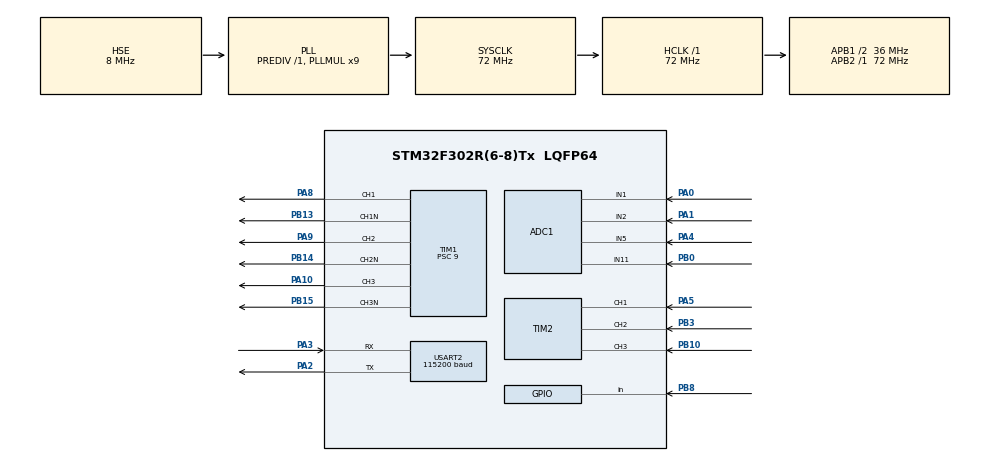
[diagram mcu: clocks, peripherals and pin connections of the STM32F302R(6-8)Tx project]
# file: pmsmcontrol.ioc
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Mcu.Family=STM32F3
ADC1.InjectedChannel-12\#ChannelInjectedConversion=ADC_CHANNEL_VBAT
RCC.CortexFreq_Value=72000000
PB10.GPIO_Speed=GPIO_SPEED_FREQ_LOW
PB10.GPIO_PuPd=GPIO_PULLUP
ADC1.InjectedSamplingTimeOPAMP-10\#ChannelInjectedConversion=ADC_SAMPLETIME_61CYCLES_5
PA10.GPIO_PuPd=GPIO_PULLDOWN
RCC.SYSCLKSourceVirtual=RCC_SYSCLKSOURCE_PLLCLK
ADC1.InjectedSamplingTime-11\#ChannelInjectedConversion=ADC_SAMPLETIME_19CYCLES_5
PB13.Signal=TIM1_CH1N
PB15.Signal=TIM1_CH3N
TIM1.Channel-Output\ Compare1\ CH1\ CH1N=TIM_CHANNEL_1
PB3.GPIO_Speed=GPIO_SPEED_FREQ_LOW
ProjectManager.StackSize=0x400
TIM1.Prescaler=9
NVIC.ADC1_IRQn=true\:0\:0\:false\:false\:true\:true\:true
PA4.Mode=IN5-Single-Ended
Dma.USART2_RX.0.Priority=DMA_PRIORITY_LOW
Dma.USART2_RX.0.PeriphDataAlignment=DMA_PDATAALIGN_BYTE
RCC.HCLKFreq_Value=72000000
RCC.APB2TimFreq_Value=72000000
ADC1.InjectedRank-9\#ChannelInjectedConversion=1
ADC1.InjNumberOfConversion=4
TIM1.AutomaticOutput=TIM_AUTOMATICOUTPUT_ENABLE
ADC1.InjectedOffsetNumber-9\#ChannelInjectedConversion=ADC_OFFSET_NONE
ADC1.InjectedOffset-12\#ChannelInjectedConversion=0
ADC1.InjectedSamplingTimeOPAMP-9\#ChannelInjectedConversion=ADC_SAMPLETIME_61CYCLES_5
RCC.AHBFreq_Value=72000000
ADC1.InjectedChannel-9\#ChannelInjectedConversion=ADC_CHANNEL_1
ADC1.ExternalTrigInjecConv=ADC_EXTERNALTRIGINJECCONV_T1_TRGO
ADC1.InjectedOffsetNumber-12\#ChannelInjectedConversion=ADC_OFFSET_NONE
RCC.HSE_VALUE=8000000
ADC1.InjectedOffset-11\#ChannelInjectedConversion=0
USART2.VirtualMode-Asynchronous=VM_ASYNC
RCC.PLLMUL=RCC_PLL_MUL9
TIM1.Break2Polarity=TIM_BREAK2POLARITY_LOW
PB3.GPIO_PuPd=GPIO_PULLUP
PB10.GPIO_ModeDefaultPP=GPIO_MODE_AF_PP
Dma.USART2_RX.0.MemDataAlignment=DMA_MDATAALIGN_BYTE
TIM1.Channel-PWM\ Generation1\ CH1=TIM_CHANNEL_1
PA14.Mode=Serial_Wire
ADC1.InjectedChannel-11\#ChannelInjectedConversion=ADC_CHANNEL_5
PB14.Mode=PWM Generation2 CH2 CH2N
PA5.GPIO_PuPd=GPIO_PULLUP
TIM1.DeadTime=16
NVIC.TIM2_IRQn=true\:0\:0\:false\:false\:true\:true\:true
PA0.Mode=IN1-Single-Ended
ADC1.InjectedSamplingTime-12\#ChannelInjectedConversion=ADC_SAMPLETIME_19CYCLES_5
Dma.USART2_RX.0.Instance=DMA1_Channel6
PA8.Signal=S_TIM1_CH1
ADC1.Rank4_Channel=ADC_CHANNEL_VBAT
ADC1.InjectedRank-11\#ChannelInjectedConversion=3
VP_TIM1_VS_ClockSourceINT.Mode=Internal
PA0.Signal=ADC1_IN1
ADC1.InjectedSamplingTime-10\#ChannelInjectedConversion=ADC_SAMPLETIME_19CYCLES_5
Mcu.Package=LQFP64
PB14.GPIO_PuPd=GPIO_PULLDOWN
Dma.USART2_RX.0.PeriphInc=DMA_PINC_DISABLE
PB15.GPIO_PuPd=GPIO_PULLDOWN
TIM2.IC1Polarity=TIM_ICPOLARITY_RISING
PA10.Signal=S_TIM1_CH3
ADC1.Rank1_Channel=ADC_CHANNEL_1
TIM1.Channel-PWM\ Generation2\ CH2N=TIM_CHANNEL_2
ADC1.InjectedRank-12\#ChannelInjectedConversion=4
RCC.APB1TimFreq_Value=72000000
PB13.Mode=PWM Generation1 CH1 CH1N
PF1-OSC_OUT.Mode=HSE-External-Oscillator
Dma.Request0=USART2_RX
ADC1.InjectedOffset-9\#ChannelInjectedConversion=0
PF1-OSC_OUT.Signal=RCC_OSC_OUT
PA3.Signal=USART2_RX
RCC.PLLSourceVirtual=RCC_PLLSOURCE_HSE
NVIC.DMA1_Channel6_IRQn=true\:0\:0\:false\:false\:true\:false\:true
TIM1.OffStateIDLEMode=TIM_OSSI_ENABLE
TIM2.IC1Filter=15
TIM1.CounterMode=TIM_COUNTERMODE_CENTERALIGNED1
PB8.GPIO_PuPd=GPIO_NOPULL
Dma.USART2_RX.0.Direction=DMA_PERIPH_TO_MEMORY
VP_ADC1_Vbat_Input.Mode=IN-Vbat
TIM1.Channel-PWM\ Generation1\ CH1\ CH1N=TIM_CHANNEL_1
RCC.APB1CLKDivider=RCC_HCLK_DIV2
PA9.GPIO_PuPd=GPIO_PULLDOWN
USART2.BaudRate=115200
ADC1.InjectedSamplingTimeOPAMP-12\#ChannelInjectedConversion=ADC_SAMPLETIME_61CYCLES_5
ADC1.InjectedRank-10\#ChannelInjectedConversion=2
Dma.USART2_RX.0.Mode=DMA_CIRCULAR
PA3.Mode=Asynchronous
PA13.Signal=SYS_JTMS-SWDIO
TIM1.AutoReloadPreload=TIM_AUTORELOAD_PRELOAD_ENABLE
ADC1.InjectedOffset-10\#ChannelInjectedConversion=0
TIM1.Channel-PWM\ Generation2\ CH2\ CH2N=TIM_CHANNEL_2
SH.S_TIM2_CH2.0=TIM2_CH2,Xored_Inputs_Hall_Sensor_Interface
SH.S_TIM1_CH1.0=TIM1_CH1,PWM Generation1 CH1 CH1N
ProjectManager.TargetToolchain=STM32CubeIDE
PA5.GPIO_ModeDefaultPP=GPIO_MODE_AF_PP
ADC1.InjectedOffsetNumber-10\#ChannelInjectedConversion=ADC_OFFSET_NONE
PA9.Signal=S_TIM1_CH2
TIM1.Channel-PWM\ Generation2\ CH2=TIM_CHANNEL_2
TIM1.Channel-PWM\ Generation3\ CH3\ CH3N=TIM_CHANNEL_3
RCC.USBFreq_Value=72000000
ADC1.InjectedChannel-10\#ChannelInjectedConversion=ADC_CHANNEL_2
ADC1.InjectedOffsetNumber-11\#ChannelInjectedConversion=ADC_OFFSET_NONE
RCC.LSE_VALUE=32768
PA1.Signal=ADC1_IN2
PF0-OSC_IN.Mode=HSE-External-Oscillator
PB10.Signal=S_TIM2_CH3
PB14.Signal=TIM1_CH2N
PA5.Signal=S_TIM2_CH1_ETR
ADC1.InjectedSamplingTime-9\#ChannelInjectedConversion=ADC_SAMPLETIME_19CYCLES_5
PB0.Mode=IN11-Single-Ended
board=custom
PB3.GPIO_ModeDefaultPP=GPIO_MODE_AF_PP
PB15.Mode=PWM Generation3 CH3 CH3N
PB13.GPIO_PuPd=GPIO_PULLDOWN
ADC1.InjectedSamplingTimeOPAMP-11\#ChannelInjectedConversion=ADC_SAMPLETIME_61CYCLES_5
TIM1.TIM_MasterOutputTrigger=TIM_TRGO_UPDATE
RCC.APB2Freq_Value=72000000
PA1.Mode=IN2-Single-Ended
SH.S_TIM1_CH2.0=TIM1_CH2,PWM Generation2 CH2 CH2N
VP_TIM2_VS_ClockSourceINT.Mode=Internal
SH.S_TIM2_CH3.0=TIM2_CH3,Xored_Inputs_Hall_Sensor_Interface
TIM1.OffStateRunMode=TIM_OSSR_DISABLE
TIM1.BreakPolarity=TIM_BREAKPOLARITY_LOW
PA13.Mode=Serial_Wire
Mcu.Name=STM32F302R(6-8)Tx
Dma.USART2_RX.0.MemInc=DMA_MINC_ENABLE
PA2.Signal=USART2_TX
PB3.Signal=S_TIM2_CH2
PA4.Signal=ADC1_IN5
RCC.SYSCLKFreq_VALUE=72000000
ADC1.master=1
SH.S_TIM2_CH1_ETR.0=TIM2_CH1,Xored_Inputs_Hall_Sensor_Interface
PA14.Signal=SYS_JTCK-SWCLK
ProjectManager.HeapSize=0x200
SH.S_TIM1_CH3.0=TIM1_CH3,PWM Generation3 CH3 CH3N
RCC.HSI_VALUE=8000000
PA8.GPIO_PuPd=GPIO_PULLDOWN
PA5.GPIO_Speed=GPIO_SPEED_FREQ_LOW
NVIC.PriorityGroup=NVIC_PRIORITYGROUP_4
ADC1.NbrOfConversionFlag=1
PA2.Mode=Asynchronous
PB8.Signal=GPIO_Input
PF0-OSC_IN.Signal=RCC_OSC_IN
TIM1.Channel-PWM\ Generation3\ CH3=TIM_CHANNEL_3
RCC.APB1Freq_Value=36000000
PB0.Signal=ADC1_IN11

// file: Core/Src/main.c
/* USER CODE BEGIN Header */
/**
  ******************************************************************************
  * @file           : main.c
  * @brief          : Main program body
  ******************************************************************************
  * @attention
  *
  * <h2><center>&copy; Copyright (c) 2021 STMicroelectronics.
  * All rights reserved.</center></h2>
  *
  * This software component is licensed by ST under BSD 3-Clause license,
  * the "License"; You may not use this file except in compliance with the
  * License. You may obtain a copy of the License at:
  *                        opensource.org/licenses/BSD-3-Clause
  *
  ******************************************************************************
  */
/* USER CODE END Header */
#include "main.h"

/* USER CODE BEGIN Includes */
#include "cardata.h"

/* USER CODE END Includes */

ADC_HandleTypeDef hadc1;

TIM_HandleTypeDef htim1;
TIM_HandleTypeDef htim2;

UART_HandleTypeDef huart2;
DMA_HandleTypeDef hdma_usart2_rx;

/* USER CODE BEGIN PV */
volatile enum Notch notch = N;
volatile enum Mode mode = DEMO;
volatile enum HallState hallstate = STOP;
volatile enum InvState invstate = INVOFF;
const enum InputMode inputmode = SERIAL;
const enum CtrlMode ctrlmode = SPEAKER;

volatile uint32_t start = 0;  // for process time measurement
volatile uint32_t stop = 0;   // for process time measurement
uint32_t theta_est = 0;  // estimated rotor electric angle (65536^2/2pi * omega[rad])
uint32_t theta_u = 0;    // U voltage phase angle (65536^2/2pi * omega[rad])
float omega_est = 0.0;  // estimated rotor electric angular velocity [rad/s]
float omega_ref = 0.0;  // (for demo mode only) omega command [rad/s]
float CtrlPrd = 0.0;    // control period [s]
float speed = 0.0;      // bicycle speed [km/h]
float fs = 0.0;  // estimated rotor electric frequency [Hz]
float fc = INITIALFC;  // carrier frequency (include random modulation) [Hz]
float fc0 = INITIALFC; // carrier frequency (exclude random modulation) [Hz]
float frand = 0.0;     // random modulation frequency
float Vd = 0.0;  // d-axis voltage command [-1 1]
float Vq = 0.0;  // q-axis voltage command [-1 1]
float Vs = 0.0;  // signal voltage =sqrt(Vd^2+Vq^2) [-1 1]
float Vdc = 36.0;
float Id = 0.0;
float Iq = 0.0;
float Iac = 0.0;
float acc = 0.0;  // (for demo) acceleration set to change omega_ref [rad/s/s]
int pulsemode = 0;  // pulse mode
int pmNo = 0;       // pulse mode index
int pmNo_ref = 0;
int pulsemode_ref = 0;
static uint8_t dma_rx_buf[RXBUFFERSIZE];  // rx buffer written by DMA
static uint32_t rd_ptr, dma_write_ptr;  // rx pointer
uint8_t sector = 0;

/* array for pulse pattern data */
float list_fs[PULSEMODESIZE], list_fc1[PULSEMODESIZE], list_fc2[PULSEMODESIZE], list_frand1[PULSEMODESIZE], list_frand2[PULSEMODESIZE];
int list_pulsemode[PULSEMODESIZE], pulsenum;

/* USER CODE END PV */

void SystemClock_Config(void);
static void MX_GPIO_Init(void);
static void MX_DMA_Init(void);
static void MX_TIM1_Init(void);
static void MX_USART2_UART_Init(void);
static void MX_ADC1_Init(void);
static void MX_TIM2_Init(void);
/* USER CODE BEGIN PFP */
int USART2_RX_IsEmpty(void);
uint8_t USART2_RX_Read(void);
void decode_pulsemode(const char*);
void inv_reset(void);
float newton_downslope(float, float, float, uint32_t);
float newton_upslope(float, float, float, uint32_t);
/* USER CODE END PFP */

int main(void)
{

  /* MCU Configuration--------------------------------------------------------*/

  /* Reset of all peripherals, Initializes the Flash interface and the Systick. */
  HAL_Init();

  /* Configure the system clock */
  SystemClock_Config();

  /* Initialize all configured peripherals */
  MX_GPIO_Init();
  MX_DMA_Init();
  MX_TIM1_Init();
  MX_USART2_UART_Init();
  MX_ADC1_Init();
  MX_TIM2_Init();
  /* USER CODE BEGIN 2 */

  /* to measure process time (if you want to get CPU cycle, access DWT->CYCCNT) */
  CoreDebug -> DEMCR |= CoreDebug_DEMCR_TRCENA_Msk;
  DWT -> CTRL |= DWT_CTRL_CYCCNTENA_Msk;

  /* initialize TIM1 parameters */
  TIM1->PSC = PRSC-1;
  TIM1->ARR = (uint16_t)((float)FCLK/2/PRSC/fc);
  CtrlPrd = 1.0/2.0/fc;

  /* start peripherals */
  HAL_UART_Receive_DMA(&huart2, dma_rx_buf, RXBUFFERSIZE);
  HAL_ADCEx_Calibration_Start(&hadc1, ADC_SINGLE_ENDED);
  HAL_ADCEx_InjectedStart_IT(&hadc1);  // ADC sampling and control interrupt
  HAL_TIM_PWM_Start(&htim1, TIM_CHANNEL_1);
  HAL_TIM_PWM_Start(&htim1, TIM_CHANNEL_2);
  HAL_TIM_PWM_Start(&htim1, TIM_CHANNEL_3);
  HAL_TIMEx_PWMN_Start(&htim1, TIM_CHANNEL_1);
  HAL_TIMEx_PWMN_Start(&htim1, TIM_CHANNEL_2);
  HAL_TIMEx_PWMN_Start(&htim1, TIM_CHANNEL_3);
//  if (ctrlmode == HALL) {
	  HAL_TIM_IC_Start(&htim2, TIM_CHANNEL_1);  // hall sensor input capture
	  HAL_TIM_Base_Start_IT(&htim2);            // hall sensor transition interrupt
//  } else {
//	  HAL_TIM_IC_Stop(&htim2, TIM_CHANNEL_1);
//	  HAL_TIM_Base_Stop_IT(&htim2);
//  }

  int carno = -1;
  struct CarData* car;// = &cardata[carno];  // car data in use

  if (inputmode == GPIO) {
	  invstate = INVON;
	  car = &cardata[1];
	  decode_pulsemode(car->pattern);
  }

  /* USER CODE END 2 */

  /* Infinite loop */
  /* USER CODE BEGIN WHILE */

  char rxbuf[RXBUFFERSIZE];
  char txbuf[TXBUFFERSIZE];

  while (1)
  {
	// initialize buffer
	memset(rxbuf, 0, RXBUFFERSIZE);
	memset(txbuf, 0, TXBUFFERSIZE);

	// receive
	int i = 0;
	while (!USART2_RX_IsEmpty()) {
		rxbuf[i] = USART2_RX_Read();
		i++;
	}
	HAL_UART_Transmit(&huart2, (uint8_t*)rxbuf, i, UARTTIMEOUT);

	// when receive "invoff"
	if (!strncmp(rxbuf, "invoff", 6)) {
		HAL_UART_Transmit(&huart2, (uint8_t*)rxbuf, i, UARTTIMEOUT);
		inv_reset();
	}
	// when receive "carno=%d", change car only when the inverter is off
	else if (!strncmp(rxbuf, "carno=", 6)) {
		HAL_UART_Transmit(&huart2, (uint8_t*)rxbuf, i, UARTTIMEOUT);
		if (invstate == INVOFF) {
			HAL_UART_Transmit(&huart2, (uint8_t*)rxbuf, i, UARTTIMEOUT);
			sscanf(rxbuf, "carno=%d", &carno);
			if (carno > -1 && carno < NUMOFCAR) {
				HAL_UART_Transmit(&huart2, (uint8_t*)rxbuf, i, UARTTIMEOUT);
				car = &cardata[carno];
				decode_pulsemode(car->pattern);
				invstate = INVON;
			} else {  // if carno is invalid, turn off inverter
				invstate = INVOFF;
				carno = -1;
			}
		}
	}
	// when receive "mode=%d", change mode only when the inverter is off
	else if (!strncmp(rxbuf, "mode=", 5)) {
		if (invstate == INVOFF) {
			sscanf(rxbuf, "mode=%d", (int*)&mode);
			if (carno > -1) {
				invstate = INVON;
			}
		}
	}
	// when receive notch command
	if (invstate == INVON) {
		if (!strncmp(rxbuf, "notch=", 6)) {
			sscanf(rxbuf, "notch=%d", (int*)&notch);
		}
		else if (rxbuf[0] == 'P') {
			notch = P5;
		}
		else if (rxbuf[0] == 'N') {
			notch = N;
		}
		else if (rxbuf[0] == 'B') {
			notch = B8;
		}
	} else {
		notch = N;
	}

	// apply notch
	if (carno > -1) {
		if (inputmode == SERIAL) {
			if (notch > N) {  // P
				acc = car->acc0*(notch-N)/(P5-N)/3.6/car->rwheel*car->gr*car->pp;
			} else if (EB < notch) {
				acc = car->brk0*(notch-N)/(B8-N)/3.6/car->rwheel*car->gr*car->pp;
			} else {
				acc = car->eb0/3.6/car->rwheel*car->gr*car->pp;
			}
		} else if (inputmode == GPIO) {
			if (HAL_GPIO_ReadPin(GPIOB, GPIO_PIN_8)) {
				notch = P5;
				acc = car->acc0/3.6/car->rwheel*car->gr*car->pp;
			} else {
				notch = B8;
				acc = car->brk0/3.6/car->rwheel*car->gr*car->pp;
			}
		}
	}

	//HAL_Delay(50);

	// send data to serial
	//Iac = 0.0;
	//sprintf(txbuf, "{\"speed\":%f, \"fs\":%f, \"frand\":%f, \"Vs\":%f, \"pulsemode\":%d, \"fc\":%f, \"Vdc\":%f, \"Imm\":%f, \"notch\":%d, \"carno\":%d, \"mode\":%d, \"invstate\":%d, \"pedal\":%d}\n",speed,fs,frand,Vs,pulsemode,fc0,Vdc,Iac,(int)notch,carno,(int)mode,(int)invstate,0);
	//sprintf(txbuf, "\"omega_ref\":%f, \"omega_est\":%f, \"fc\":%f\n", omega_ref, omega_est, fc);
//	float Iu = 10.0/1.09515 * (ADC1->JDR2/4096.0*3.3-1.70475-0.042);
//	float Iw = 10.0/1.09515 * (ADC1->JDR3/4096.0*3.3-1.70475-0.08);
	sprintf(txbuf, "{\"Iu:%d, Iw:%d, Vbat:%d\n", ADC1->JDR2, ADC1->JDR3, (ADC1->JDR4));
	HAL_UART_Transmit(&huart2, (uint8_t*)txbuf, strlen(txbuf), UARTTIMEOUT);

    /* USER CODE END WHILE */

  }
}

void SystemClock_Config(void)
{
  RCC_OscInitTypeDef RCC_OscInitStruct = {0};
  RCC_ClkInitTypeDef RCC_ClkInitStruct = {0};
  RCC_PeriphCLKInitTypeDef PeriphClkInit = {0};

  /** Initializes the RCC Oscillators according to the specified parameters
  * in the RCC_OscInitTypeDef structure.
  */
  RCC_OscInitStruct.OscillatorType = RCC_OSCILLATORTYPE_HSE;
  RCC_OscInitStruct.HSEState = RCC_HSE_ON;
  RCC_OscInitStruct.HSEPredivValue = RCC_HSE_PREDIV_DIV1;
  RCC_OscInitStruct.HSIState = RCC_HSI_ON;
  RCC_OscInitStruct.PLL.PLLState = RCC_PLL_ON;
  RCC_OscInitStruct.PLL.PLLSource = RCC_PLLSOURCE_HSE;
  RCC_OscInitStruct.PLL.PLLMUL = RCC_PLL_MUL9;
  if (HAL_RCC_OscConfig(&RCC_OscInitStruct) != HAL_OK)
  {
    Error_Handler();
  }
  /** Initializes the CPU, AHB and APB buses clocks
  */
  RCC_ClkInitStruct.ClockType = RCC_CLOCKTYPE_HCLK|RCC_CLOCKTYPE_SYSCLK
                              |RCC_CLOCKTYPE_PCLK1|RCC_CLOCKTYPE_PCLK2;
  RCC_ClkInitStruct.SYSCLKSource = RCC_SYSCLKSOURCE_PLLCLK;
  RCC_ClkInitStruct.AHBCLKDivider = RCC_SYSCLK_DIV1;
  RCC_ClkInitStruct.APB1CLKDivider = RCC_HCLK_DIV2;
  RCC_ClkInitStruct.APB2CLKDivider = RCC_HCLK_DIV1;

  if (HAL_RCC_ClockConfig(&RCC_ClkInitStruct, FLASH_LATENCY_2) != HAL_OK)
  {
    Error_Handler();
  }
  PeriphClkInit.PeriphClockSelection = RCC_PERIPHCLK_TIM1|RCC_PERIPHCLK_ADC1;
  PeriphClkInit.Tim1ClockSelection = RCC_TIM1CLK_HCLK;
  PeriphClkInit.Adc1ClockSelection = RCC_ADC1PLLCLK_DIV1;

  if (HAL_RCCEx_PeriphCLKConfig(&PeriphClkInit) != HAL_OK)
  {
    Error_Handler();
  }
}

static void MX_ADC1_Init(void)
{

  ADC_InjectionConfTypeDef sConfigInjected = {0};

  /** Common config
  */
  hadc1.Instance = ADC1;
  hadc1.Init.ClockPrescaler = ADC_CLOCK_ASYNC_DIV1;
  hadc1.Init.Resolution = ADC_RESOLUTION_12B;
  hadc1.Init.ScanConvMode = ADC_SCAN_ENABLE;
  hadc1.Init.ContinuousConvMode = DISABLE;
  hadc1.Init.DiscontinuousConvMode = DISABLE;
  hadc1.Init.ExternalTrigConvEdge = ADC_EXTERNALTRIGCONVEDGE_NONE;
  hadc1.Init.ExternalTrigConv = ADC_SOFTWARE_START;
  hadc1.Init.DataAlign = ADC_DATAALIGN_RIGHT;
  hadc1.Init.NbrOfConversion = 1;
  hadc1.Init.DMAContinuousRequests = DISABLE;
  hadc1.Init.EOCSelection = ADC_EOC_SINGLE_CONV;
  hadc1.Init.LowPowerAutoWait = DISABLE;
  hadc1.Init.Overrun = ADC_OVR_DATA_OVERWRITTEN;
  if (HAL_ADC_Init(&hadc1) != HAL_OK)
  {
    Error_Handler();
  }
  /** Configure Injected Channel
  */
  sConfigInjected.InjectedChannel = ADC_CHANNEL_1;
  sConfigInjected.InjectedRank = ADC_INJECTED_RANK_1;
  sConfigInjected.InjectedSingleDiff = ADC_SINGLE_ENDED;
  sConfigInjected.InjectedNbrOfConversion = 4;
  sConfigInjected.InjectedSamplingTime = ADC_SAMPLETIME_19CYCLES_5;
  sConfigInjected.ExternalTrigInjecConvEdge = ADC_EXTERNALTRIGINJECCONV_EDGE_RISING;
  sConfigInjected.ExternalTrigInjecConv = ADC_EXTERNALTRIGINJECCONV_T1_TRGO;
  sConfigInjected.AutoInjectedConv = DISABLE;
  sConfigInjected.InjectedDiscontinuousConvMode = DISABLE;
  sConfigInjected.QueueInjectedContext = DISABLE;
  sConfigInjected.InjectedOffset = 0;
  sConfigInjected.InjectedOffsetNumber = ADC_OFFSET_NONE;
  if (HAL_ADCEx_InjectedConfigChannel(&hadc1, &sConfigInjected) != HAL_OK)
  {
    Error_Handler();
  }
  /** Configure Injected Channel
  */
  sConfigInjected.InjectedChannel = ADC_CHANNEL_2;
  sConfigInjected.InjectedRank = ADC_INJECTED_RANK_2;
  if (HAL_ADCEx_InjectedConfigChannel(&hadc1, &sConfigInjected) != HAL_OK)
  {
    Error_Handler();
  }
  /** Configure Injected Channel
  */
  sConfigInjected.InjectedChannel = ADC_CHANNEL_5;
  sConfigInjected.InjectedRank = ADC_INJECTED_RANK_3;
  if (HAL_ADCEx_InjectedConfigChannel(&hadc1, &sConfigInjected) != HAL_OK)
  {
    Error_Handler();
  }
  /** Configure Injected Channel
  */
  sConfigInjected.InjectedChannel = ADC_CHANNEL_VBAT;
  sConfigInjected.InjectedRank = ADC_INJECTED_RANK_4;
  if (HAL_ADCEx_InjectedConfigChannel(&hadc1, &sConfigInjected) != HAL_OK)
  {
    Error_Handler();
  }

}

static void MX_TIM1_Init(void)
{

  TIM_ClockConfigTypeDef sClockSourceConfig = {0};
  TIM_MasterConfigTypeDef sMasterConfig = {0};
  TIM_OC_InitTypeDef sConfigOC = {0};
  TIM_BreakDeadTimeConfigTypeDef sBreakDeadTimeConfig = {0};

  htim1.Instance = TIM1;
  htim1.Init.Prescaler = 9;
  htim1.Init.CounterMode = TIM_COUNTERMODE_CENTERALIGNED1;
  htim1.Init.Period = 65535;
  htim1.Init.ClockDivision = TIM_CLOCKDIVISION_DIV1;
  htim1.Init.RepetitionCounter = 0;
  htim1.Init.AutoReloadPreload = TIM_AUTORELOAD_PRELOAD_ENABLE;
  if (HAL_TIM_Base_Init(&htim1) != HAL_OK)
  {
    Error_Handler();
  }
  sClockSourceConfig.ClockSource = TIM_CLOCKSOURCE_INTERNAL;
  if (HAL_TIM_ConfigClockSource(&htim1, &sClockSourceConfig) != HAL_OK)
  {
    Error_Handler();
  }
  if (HAL_TIM_PWM_Init(&htim1) != HAL_OK)
  {
    Error_Handler();
  }
  sMasterConfig.MasterOutputTrigger = TIM_TRGO_UPDATE;
  sMasterConfig.MasterOutputTrigger2 = TIM_TRGO2_RESET;
  sMasterConfig.MasterSlaveMode = TIM_MASTERSLAVEMODE_DISABLE;
  if (HAL_TIMEx_MasterConfigSynchronization(&htim1, &sMasterConfig) != HAL_OK)
  {
    Error_Handler();
  }
  sConfigOC.OCMode = TIM_OCMODE_PWM1;
  sConfigOC.Pulse = 0;
  sConfigOC.OCPolarity = TIM_OCPOLARITY_HIGH;
  sConfigOC.OCNPolarity = TIM_OCNPOLARITY_HIGH;
  sConfigOC.OCFastMode = TIM_OCFAST_DISABLE;
  sConfigOC.OCIdleState = TIM_OCIDLESTATE_RESET;
  sConfigOC.OCNIdleState = TIM_OCNIDLESTATE_RESET;
  if (HAL_TIM_PWM_ConfigChannel(&htim1, &sConfigOC, TIM_CHANNEL_1) != HAL_OK)
  {
    Error_Handler();
  }
  if (HAL_TIM_PWM_ConfigChannel(&htim1, &sConfigOC, TIM_CHANNEL_2) != HAL_OK)
  {
    Error_Handler();
  }
  if (HAL_TIM_PWM_ConfigChannel(&htim1, &sConfigOC, TIM_CHANNEL_3) != HAL_OK)
  {
    Error_Handler();
  }
  sBreakDeadTimeConfig.OffStateRunMode = TIM_OSSR_DISABLE;
  sBreakDeadTimeConfig.OffStateIDLEMode = TIM_OSSI_ENABLE;
  sBreakDeadTimeConfig.LockLevel = TIM_LOCKLEVEL_OFF;
  sBreakDeadTimeConfig.DeadTime = 16;
  sBreakDeadTimeConfig.BreakState = TIM_BREAK_DISABLE;
  sBreakDeadTimeConfig.BreakPolarity = TIM_BREAKPOLARITY_LOW;
  sBreakDeadTimeConfig.BreakFilter = 0;
  sBreakDeadTimeConfig.Break2State = TIM_BREAK2_DISABLE;
  sBreakDeadTimeConfig.Break2Polarity = TIM_BREAK2POLARITY_LOW;
  sBreakDeadTimeConfig.Break2Filter = 0;
  sBreakDeadTimeConfig.AutomaticOutput = TIM_AUTOMATICOUTPUT_ENABLE;
  if (HAL_TIMEx_ConfigBreakDeadTime(&htim1, &sBreakDeadTimeConfig) != HAL_OK)
  {
    Error_Handler();
  }
  HAL_TIM_MspPostInit(&htim1);

}

static void MX_TIM2_Init(void)
{

  TIM_ClockConfigTypeDef sClockSourceConfig = {0};
  TIM_HallSensor_InitTypeDef sConfig = {0};
  TIM_MasterConfigTypeDef sMasterConfig = {0};

  htim2.Instance = TIM2;
  htim2.Init.Prescaler = 0;
  htim2.Init.CounterMode = TIM_COUNTERMODE_UP;
  htim2.Init.Period = 4294967295;
  htim2.Init.ClockDivision = TIM_CLOCKDIVISION_DIV1;
  htim2.Init.AutoReloadPreload = TIM_AUTORELOAD_PRELOAD_DISABLE;
  if (HAL_TIM_Base_Init(&htim2) != HAL_OK)
  {
    Error_Handler();
  }
  sClockSourceConfig.ClockSource = TIM_CLOCKSOURCE_INTERNAL;
  if (HAL_TIM_ConfigClockSource(&htim2, &sClockSourceConfig) != HAL_OK)
  {
    Error_Handler();
  }
  sConfig.IC1Polarity = TIM_ICPOLARITY_RISING;
  sConfig.IC1Prescaler = TIM_ICPSC_DIV1;
  sConfig.IC1Filter = 15;
  sConfig.Commutation_Delay = 0;
  if (HAL_TIMEx_HallSensor_Init(&htim2, &sConfig) != HAL_OK)
  {
    Error_Handler();
  }
  sMasterConfig.MasterOutputTrigger = TIM_TRGO_OC2REF;
  sMasterConfig.MasterSlaveMode = TIM_MASTERSLAVEMODE_DISABLE;
  if (HAL_TIMEx_MasterConfigSynchronization(&htim2, &sMasterConfig) != HAL_OK)
  {
    Error_Handler();
  }

}

static void MX_USART2_UART_Init(void)
{

  huart2.Instance = USART2;
  huart2.Init.BaudRate = 115200;
  huart2.Init.WordLength = UART_WORDLENGTH_8B;
  huart2.Init.StopBits = UART_STOPBITS_1;
  huart2.Init.Parity = UART_PARITY_NONE;
  huart2.Init.Mode = UART_MODE_TX_RX;
  huart2.Init.HwFlowCtl = UART_HWCONTROL_NONE;
  huart2.Init.OverSampling = UART_OVERSAMPLING_16;
  huart2.Init.OneBitSampling = UART_ONE_BIT_SAMPLE_DISABLE;
  huart2.AdvancedInit.AdvFeatureInit = UART_ADVFEATURE_NO_INIT;
  if (HAL_UART_Init(&huart2) != HAL_OK)
  {
    Error_Handler();
  }
  /* USER CODE BEGIN USART2_Init 2 */

  /* initialization to use UART2 DMA */
  memset(dma_rx_buf, 0, RXBUFFERSIZE);
  rd_ptr = 0;
  // These UART interrupts halt any ongoing transfer if an error occurs, disable them
  __HAL_UART_DISABLE_IT(&huart2, UART_IT_PE);   // Disable the UART Parity Error Interrupt
  __HAL_UART_DISABLE_IT(&huart2, UART_IT_ERR);  // Disable the UART Error Interrupt: (Frame error, noise error, overrun error)

  /* USER CODE END USART2_Init 2 */

}

static void MX_DMA_Init(void)
{

  /* DMA controller clock enable */
  __HAL_RCC_DMA1_CLK_ENABLE();

  /* DMA interrupt init */
  /* DMA1_Channel6_IRQn interrupt configuration */
  HAL_NVIC_SetPriority(DMA1_Channel6_IRQn, 0, 0);
  HAL_NVIC_EnableIRQ(DMA1_Channel6_IRQn);

}

static void MX_GPIO_Init(void)
{
  GPIO_InitTypeDef GPIO_InitStruct = {0};

  /* GPIO Ports Clock Enable */
  __HAL_RCC_GPIOF_CLK_ENABLE();
  __HAL_RCC_GPIOA_CLK_ENABLE();
  __HAL_RCC_GPIOB_CLK_ENABLE();

  /*Configure GPIO pin : PB8 */
  GPIO_InitStruct.Pin = GPIO_PIN_8;
  GPIO_InitStruct.Mode = GPIO_MODE_INPUT;
  GPIO_InitStruct.Pull = GPIO_NOPULL;
  HAL_GPIO_Init(GPIOB, &GPIO_InitStruct);

}

/* USER CODE BEGIN 4 */
int USART2_RX_IsEmpty(void)
{
	dma_write_ptr = (RXBUFFERSIZE - huart2.hdmarx->Instance->CNDTR) % RXBUFFERSIZE;
    return (rd_ptr == dma_write_ptr);
}

uint8_t USART2_RX_Read(void)
{
    uint8_t c = 0;
    dma_write_ptr = (RXBUFFERSIZE - huart2.hdmarx->Instance->CNDTR) % RXBUFFERSIZE;
    if(rd_ptr != dma_write_ptr) {
        c = dma_rx_buf[rd_ptr++];
        rd_ptr %= RXBUFFERSIZE;
    }
    return c;
}

/**
  * @brief Decode text data which describe pulse pattern
  * @param char*
  * @retval None
  */
void decode_pulsemode(const char* str)
{
	char buf[10];
	int row, i, j;
	enum DataKind {FS, PULSEMODE, FC1, FC2, FRAND1, FRAND2} datakind = 0;

	for (row = 0; row < PULSEMODESIZE; row++) {  // initialize pulse mode list
		list_fs[row] = 0.0;
		list_pulsemode[row] = 0;
		list_fc1[row] = 0.0;
		list_fc2[row] = 0.0;
		list_frand1[row] = 0.0;
		list_frand2[row] = 0.0;
	}

	row = 0; i = 0; j = 0;

	while (str[i] != '\0') {
	    if (str[i] == ',' || str[i] == '\n') {  // at the end of a data
    		buf[j] = '\0';
			switch (datakind) {
			case FS:
				list_fs[row] = atof(buf); break;
			case PULSEMODE:
				list_pulsemode[row] = atoi(buf); break;
			case FC1:
				list_fc1[row] = atof(buf); break;
			case FC2:
				list_fc2[row] = atof(buf); break;
			case FRAND1:
    			list_frand1[row] = atof(buf); break;
			case FRAND2:
				list_frand2[row] = atof(buf); break;
			}
			j = 0;
		    datakind++;  // move to the next data
		} else {
			buf[j] = str[i];  // read a character
			j++;
		}
	    if (str[i] == '\n') {  // at the end of a line
			datakind = 0;
			row++; // move to the next row
	    }
	    i++;
	}
	pulsenum = row + 1;
}

void inv_reset() {
	notch = N;
	hallstate = STOP;
	invstate = INVOFF;
	theta_est = 0;
	theta_u = 0;
	omega_est = 0.0;
	omega_ref = 0.0;
	CtrlPrd = 0.0;
	speed = 0.0;
	fs = 0.0;
	fc = INITIALFC;
	fc0 = INITIALFC;
	Vd = 0.0;
	Vq = 0.0;
	Vs = 0.0;
	Vdc = 36.0;
	Id = 0.0;
	Iq = 0.0;
	Iac = 0.0;
	acc = 0.0;
	pulsemode = 0;
	pmNo = 0;
	pmNo_ref = 0;
	pulsemode_ref = 0;
}
/* USER CODE END 4 */

void Error_Handler(void)
{
  __disable_irq();
  while (1)
  {
  }
}

/************************ (C) COPYRIGHT STMicroelectronics *****END OF FILE****/
